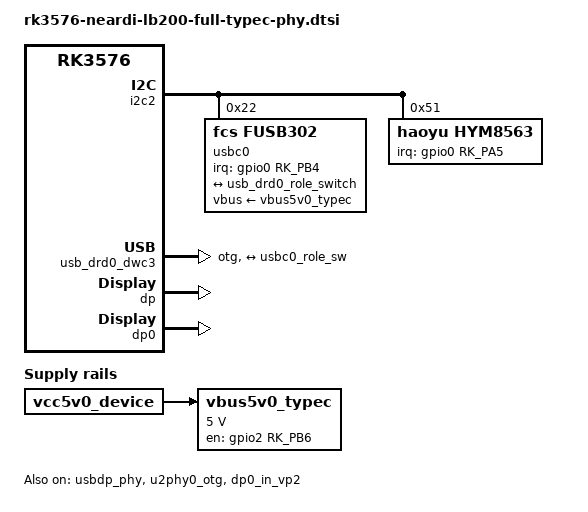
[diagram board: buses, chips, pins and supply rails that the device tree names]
// SPDX-License-Identifier: (GPL-2.0+ OR MIT)
/*
 * Neardi LB200 USB-C / Type-C PHY (mainline compatible)
 */

#include <dt-bindings/gpio/gpio.h>
#include <dt-bindings/pinctrl/rockchip.h>
#include <dt-bindings/usb/pd.h>

/ {
	vbus5v0_typec: vbus5v0-typec {
		compatible = "regulator-fixed";
		regulator-name = "vbus5v0_typec";
		regulator-min-microvolt = <5000000>;
		regulator-max-microvolt = <5000000>;
		enable-active-high;
		gpio = <&gpio2 RK_PB6 GPIO_ACTIVE_HIGH>;
		vin-supply = <&vcc5v0_device>;
		pinctrl-names = "default";
		pinctrl-0 = <&usb_otg0_pwren>;
	};
};

&i2c2 {
	status = "okay";

	usbc0: fusb302@22 {
		compatible = "fcs,fusb302";
		reg = <0x22>;
		interrupt-parent = <&gpio0>;
		interrupts = <RK_PB4 IRQ_TYPE_LEVEL_LOW>;
		pinctrl-names = "default";
		pinctrl-0 = <&usbc0_int>;
		vbus-supply = <&vbus5v0_typec>;
		status = "okay";

		port {
			usbc0_role_sw: endpoint {
				remote-endpoint = <&usb_drd0_role_switch>;
			};
		};

		usb_con: connector {
			compatible = "usb-c-connector";
			label = "USB-C";
			data-role = "dual";
			power-role = "dual";
			try-power-role = "sink";
			op-sink-microwatt = <1000000>;
			sink-pdos =
				<PDO_FIXED(5000, 1000, PDO_FIXED_USB_COMM)>;
			source-pdos =
				<PDO_FIXED(5000, 3000, PDO_FIXED_USB_COMM)>;
		};
	};

	hym8563: hym8563@51 {
		compatible = "haoyu,hym8563";
		reg = <0x51>;
		clock-output-names = "hym8563";
		interrupt-parent = <&gpio0>;
		interrupts = <RK_PA5 IRQ_TYPE_LEVEL_LOW>;
		pinctrl-names = "default";
		pinctrl-0 = <&hym8563_int>;
		wakeup-source;
		#clock-cells = <0>;
	};
};

&usb_drd0_dwc3 {
	dr_mode = "otg";
	usb-role-switch;
	status = "okay";

	port {
		usb_drd0_role_switch: endpoint {
			remote-endpoint = <&usbc0_role_sw>;
		};
	};
};

&usbdp_phy {
	rockchip,dp-lane-mux = <2 3>;
	status = "okay";
};

&u2phy0_otg {
	phy-supply = <&vbus5v0_typec>;
	status = "okay";
};

&dp {
	status = "okay";
	svid = <0xff01>;
};

&dp0 {
	status = "okay";
};

&dp0_in_vp2 {
	remote-endpoint = <&vp2_out_dp0>;
	status = "okay";
};

&pinctrl {
	typec_phy {
		usbc0_int: usbc0-int {
			rockchip,pins = <0 RK_PB4 RK_FUNC_GPIO &pcfg_pull_up>;
		};

		usb_otg0_pwren: usb-otg0-pwren {
			rockchip,pins = <2 RK_PB6 RK_FUNC_GPIO &pcfg_pull_none>;
		};
	};

	hym8563 {
		hym8563_int: hym8563-int {
			rockchip,pins = <0 RK_PA5 RK_FUNC_GPIO &pcfg_pull_up>;
		};
	};
};
